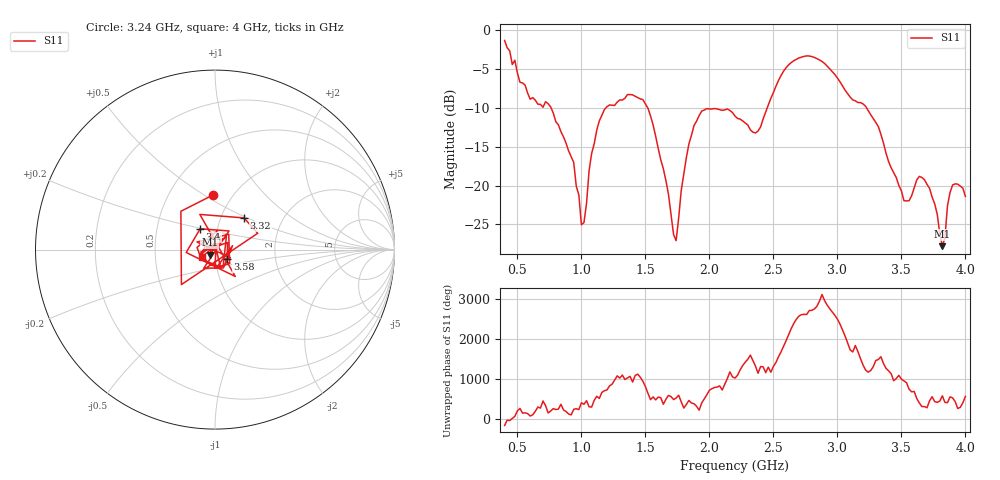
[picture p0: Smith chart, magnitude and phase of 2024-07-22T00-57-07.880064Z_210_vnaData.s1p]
!Created with skrf (http://scikit-rf.org).
# Hz S RI R 50.0
!freq ReS11 ImS11
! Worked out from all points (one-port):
!   181 points, 400 MHz to 4 GHz, reference 50 ohm
!   lowest |S11| = -27.8 dB at 3.82 GHz (marker M1), VSWR 1.08, Z = 47 - j2.63 ohm
!   |S11| at or under -10 dB: 762.9 MHz to 1.192 GHz (429 MHz wide, 43.9 % of centre); 1.518 GHz to 2.452 GHz (933.7 MHz wide, 47 % of centre); 3.227 GHz to end of sweep
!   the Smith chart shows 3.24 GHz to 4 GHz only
!   S11 on the Smith chart (normalised r, x): 3.24 GHz: 0.81, +0.54; 3.32 GHz: 1.28, +0.48; 3.4 GHz: 0.83, +0.20; 3.58 GHz: 1.14, -0.12; 4 GHz: 0.86, -0.07
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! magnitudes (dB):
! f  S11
! 400 MHz  -1.3
! 600 MHz  -8.9
! 740 MHz  -9.5
! 860 MHz  -13.7
! 940 MHz  -17.0
! 1 GHz  -25.0
! 1.14 GHz  -11.7
! 1.3 GHz  -9.0
! 1.52 GHz  -10.0
! 1.66 GHz  -19.3
! 1.72 GHz  -26.3
! 1.76 GHz  -24.2
! 1.84 GHz  -14.6
! 1.92 GHz  -11.0
! 2.2 GHz  -11.1
! 2.38 GHz  -13.0
! 2.66 GHz  -3.9
! 2.88 GHz  -4.0
! 3.1 GHz  -8.6
! 3.24 GHz  -10.3
! 3.32 GHz  -12.4
! 3.4 GHz  -16.9
! 3.56 GHz  -21.9
! 3.58 GHz  -21.3
! 3.68 GHz  -19.2
! 3.82 GHz  -27.8
! 3.9 GHz  -19.9
! 4 GHz  -21.4
